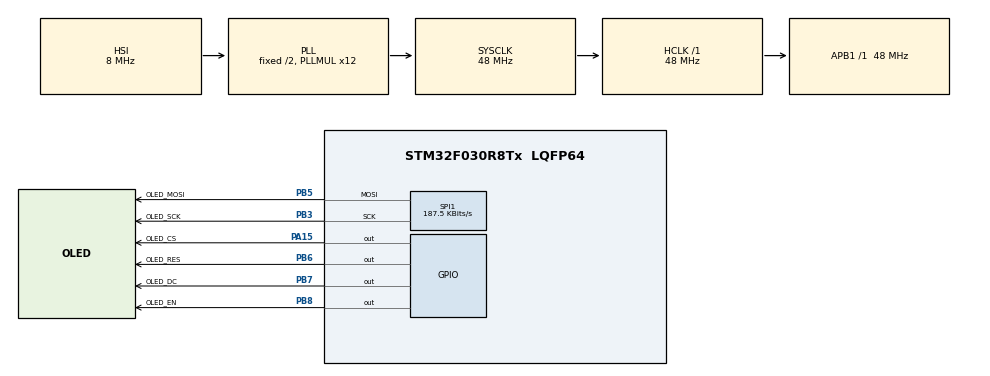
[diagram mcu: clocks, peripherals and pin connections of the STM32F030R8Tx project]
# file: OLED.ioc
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Dma.Request0=SPI1_TX
Dma.SPI1_TX.0.Direction=DMA_MEMORY_TO_PERIPH
Dma.SPI1_TX.0.Instance=DMA1_Channel3
Dma.SPI1_TX.0.MemDataAlignment=DMA_MDATAALIGN_BYTE
Dma.SPI1_TX.0.MemInc=DMA_MINC_ENABLE
Dma.SPI1_TX.0.Mode=DMA_CIRCULAR
Dma.SPI1_TX.0.PeriphDataAlignment=DMA_PDATAALIGN_BYTE
Dma.SPI1_TX.0.PeriphInc=DMA_PINC_DISABLE
Dma.SPI1_TX.0.Priority=DMA_PRIORITY_HIGH
Mcu.Family=STM32F0
Mcu.Name=STM32F030R8Tx
Mcu.Package=LQFP64
NVIC.DMA1_Channel2_3_IRQn=true\:0\:0\:false\:false\:true\:false\:true
PA15.GPIO_Label=OLED_CS
PA15.GPIO_Speed=GPIO_SPEED_FREQ_HIGH
PA15.PinState=GPIO_PIN_SET
PA15.Signal=GPIO_Output
PB3.GPIO_Label=OLED_SCK
PB3.Mode=TX_Only_Simplex_Unidirect_Master
PB3.Signal=SPI1_SCK
PB5.GPIO_Label=OLED_MOSI
PB5.Mode=TX_Only_Simplex_Unidirect_Master
PB5.Signal=SPI1_MOSI
PB6.GPIO_Label=OLED_RES
PB6.GPIO_Speed=GPIO_SPEED_FREQ_HIGH
PB6.PinState=GPIO_PIN_SET
PB6.Signal=GPIO_Output
PB7.GPIO_Label=OLED_DC
PB7.GPIO_Speed=GPIO_SPEED_FREQ_HIGH
PB7.PinState=GPIO_PIN_SET
PB7.Signal=GPIO_Output
PB8.GPIO_Label=OLED_EN
PB8.GPIO_PuPd=GPIO_PULLDOWN
PB8.GPIO_Speed=GPIO_SPEED_FREQ_HIGH
PB8.PinState=GPIO_PIN_RESET
PB8.Signal=GPIO_Output
ProjectManager.HeapSize=0x200
ProjectManager.StackSize=0x400
ProjectManager.TargetToolchain=MDK-ARM V5.32
RCC.AHBFreq_Value=48000000
RCC.APB1Freq_Value=48000000
RCC.APB1TimFreq_Value=48000000
RCC.HCLKFreq_Value=48000000
RCC.PLLMUL=RCC_PLL_MUL12
RCC.SYSCLKFreq_VALUE=48000000
RCC.SYSCLKSource=RCC_SYSCLKSOURCE_PLLCLK
RTC.Date=14
RTC.Hours=12
RTC.Minutes=34
RTC.Month=RTC_MONTH_AUGUST
RTC.WeekDay=RTC_WEEKDAY_SUNDAY
RTC.Year=22
SPI1.BaudRatePrescaler=SPI_BAUDRATEPRESCALER_256
SPI1.CalculateBaudRate=187.5 KBits/s
SPI1.DataSize=SPI_DATASIZE_8BIT
SPI1.Direction=SPI_DIRECTION_2LINES
SPI1.Mode=SPI_MODE_MASTER
SPI1.NSSPMode=SPI_NSS_PULSE_DISABLE
SPI1.VirtualType=VM_MASTER
VP_RTC_VS_RTC_Activate.Mode=RTC_Enabled
VP_RTC_VS_RTC_Calendar.Mode=RTC_Calendar
board=custom

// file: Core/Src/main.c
/* USER CODE BEGIN Header */
/**
  ******************************************************************************
  * @file           : main.c
  * @brief          : Main program body
  ******************************************************************************
  * @attention
  *
  * Copyright (c) 2022 STMicroelectronics.
  * All rights reserved.
  *
  * This software is licensed under terms that can be found in the LICENSE file
  * in the root directory of this software component.
  * If no LICENSE file comes with this software, it is provided AS-IS.
  *
  ******************************************************************************
  */
/* USER CODE END Header */
#include "main.h"

/* USER CODE BEGIN Includes */
#include "oled.h"
#include "stdio.h"
#include "string.h"
/* USER CODE END Includes */

RTC_HandleTypeDef hrtc;

SPI_HandleTypeDef hspi1;
DMA_HandleTypeDef hdma_spi1_tx;

void SystemClock_Config(void);
static void MX_GPIO_Init(void);
static void MX_SPI1_Init(void);
static void MX_DMA_Init(void);
static void MX_RTC_Init(void);

int main(void)
{

  /* MCU Configuration--------------------------------------------------------*/

  /* Reset of all peripherals, Initializes the Flash interface and the Systick. */
  HAL_Init();

  /* Configure the system clock */
  SystemClock_Config();

  /* Initialize all configured peripherals */
  MX_GPIO_Init();
	MX_DMA_Init();
	MX_SPI1_Init();
  MX_RTC_Init();
  /* USER CODE BEGIN 2 */

	oled_init();

  /* USER CODE END 2 */

  /* Infinite loop */
  /* USER CODE BEGIN WHILE */

	uint8_t *p_oled = oled_get_buffer();
	uint32_t count = 0;

  while (1)
  {
    /* USER CODE END WHILE */

    /* USER CODE BEGIN 3 */

		count = 0;
		p_oled = oled_get_buffer();
		do
		{
			*p_oled++ = 0xff;
			HAL_Delay(1);
		} while (++count < 1024);

		count = 0;
		p_oled = oled_get_buffer();
		do
		{
			*p_oled++ = 0;
			HAL_Delay(1);
		} while (++count < 1024);
  }
  /* USER CODE END 3 */
}

void SystemClock_Config(void)
{
  RCC_OscInitTypeDef RCC_OscInitStruct = {0};
  RCC_ClkInitTypeDef RCC_ClkInitStruct = {0};
  RCC_PeriphCLKInitTypeDef PeriphClkInit = {0};

  /** Initializes the RCC Oscillators according to the specified parameters
  * in the RCC_OscInitTypeDef structure.
  */
  RCC_OscInitStruct.OscillatorType = RCC_OSCILLATORTYPE_HSI|RCC_OSCILLATORTYPE_LSI;
  RCC_OscInitStruct.HSIState = RCC_HSI_ON;
  RCC_OscInitStruct.HSICalibrationValue = RCC_HSICALIBRATION_DEFAULT;
  RCC_OscInitStruct.LSIState = RCC_LSI_ON;
  RCC_OscInitStruct.PLL.PLLState = RCC_PLL_ON;
  RCC_OscInitStruct.PLL.PLLSource = RCC_PLLSOURCE_HSI;
  RCC_OscInitStruct.PLL.PLLMUL = RCC_PLL_MUL12;
  RCC_OscInitStruct.PLL.PREDIV = RCC_PREDIV_DIV1;
  if (HAL_RCC_OscConfig(&RCC_OscInitStruct) != HAL_OK)
  {
    Error_Handler();
  }
  /** Initializes the CPU, AHB and APB buses clocks
  */
  RCC_ClkInitStruct.ClockType = RCC_CLOCKTYPE_HCLK|RCC_CLOCKTYPE_SYSCLK
                              |RCC_CLOCKTYPE_PCLK1;
  RCC_ClkInitStruct.SYSCLKSource = RCC_SYSCLKSOURCE_PLLCLK;
  RCC_ClkInitStruct.AHBCLKDivider = RCC_SYSCLK_DIV1;
  RCC_ClkInitStruct.APB1CLKDivider = RCC_HCLK_DIV1;

  if (HAL_RCC_ClockConfig(&RCC_ClkInitStruct, FLASH_LATENCY_1) != HAL_OK)
  {
    Error_Handler();
  }
  PeriphClkInit.PeriphClockSelection = RCC_PERIPHCLK_RTC;
  PeriphClkInit.RTCClockSelection = RCC_RTCCLKSOURCE_LSI;
  if (HAL_RCCEx_PeriphCLKConfig(&PeriphClkInit) != HAL_OK)
  {
    Error_Handler();
  }
}

static void MX_RTC_Init(void)
{

  RTC_TimeTypeDef sTime = {0};
  RTC_DateTypeDef sDate = {0};

  /** Initialize RTC Only
  */
  hrtc.Instance = RTC;
  hrtc.Init.HourFormat = RTC_HOURFORMAT_24;
  hrtc.Init.AsynchPrediv = 127;
  hrtc.Init.SynchPrediv = 255;
  hrtc.Init.OutPut = RTC_OUTPUT_DISABLE;
  hrtc.Init.OutPutPolarity = RTC_OUTPUT_POLARITY_HIGH;
  hrtc.Init.OutPutType = RTC_OUTPUT_TYPE_OPENDRAIN;
  if (HAL_RTC_Init(&hrtc) != HAL_OK)
  {
    Error_Handler();
  }

  /** Initialize RTC and set the Time and Date
  */
  sTime.Hours = 0x12;
  sTime.Minutes = 0x34;
  sTime.Seconds = 0x0;
  sTime.DayLightSaving = RTC_DAYLIGHTSAVING_NONE;
  sTime.StoreOperation = RTC_STOREOPERATION_RESET;
  if (HAL_RTC_SetTime(&hrtc, &sTime, RTC_FORMAT_BCD) != HAL_OK)
  {
    Error_Handler();
  }
  sDate.WeekDay = RTC_WEEKDAY_SUNDAY;
  sDate.Month = RTC_MONTH_AUGUST;
  sDate.Date = 0x14;
  sDate.Year = 0x22;

  if (HAL_RTC_SetDate(&hrtc, &sDate, RTC_FORMAT_BCD) != HAL_OK)
  {
    Error_Handler();
  }

}

static void MX_SPI1_Init(void)
{

  /* SPI1 parameter configuration*/
  hspi1.Instance = SPI1;
  hspi1.Init.Mode = SPI_MODE_MASTER;
  hspi1.Init.Direction = SPI_DIRECTION_2LINES;
  hspi1.Init.DataSize = SPI_DATASIZE_8BIT;
  hspi1.Init.CLKPolarity = SPI_POLARITY_LOW;
  hspi1.Init.CLKPhase = SPI_PHASE_1EDGE;
  hspi1.Init.NSS = SPI_NSS_SOFT;
  hspi1.Init.BaudRatePrescaler = SPI_BAUDRATEPRESCALER_256;
  hspi1.Init.FirstBit = SPI_FIRSTBIT_MSB;
  hspi1.Init.TIMode = SPI_TIMODE_DISABLE;
  hspi1.Init.CRCCalculation = SPI_CRCCALCULATION_DISABLE;
  hspi1.Init.CRCPolynomial = 7;
  hspi1.Init.CRCLength = SPI_CRC_LENGTH_DATASIZE;
  hspi1.Init.NSSPMode = SPI_NSS_PULSE_DISABLE;
  if (HAL_SPI_Init(&hspi1) != HAL_OK)
  {
    Error_Handler();
  }

}

static void MX_DMA_Init(void)
{

  /* DMA controller clock enable */
  __HAL_RCC_DMA1_CLK_ENABLE();

  /* DMA interrupt init */
  /* DMA1_Channel2_3_IRQn interrupt configuration */
  HAL_NVIC_SetPriority(DMA1_Channel2_3_IRQn, 0, 0);
  HAL_NVIC_EnableIRQ(DMA1_Channel2_3_IRQn);

}

static void MX_GPIO_Init(void)
{
  GPIO_InitTypeDef GPIO_InitStruct = {0};

  /* GPIO Ports Clock Enable */
  __HAL_RCC_GPIOA_CLK_ENABLE();
  __HAL_RCC_GPIOB_CLK_ENABLE();

  /*Configure GPIO pin Output Level */
  HAL_GPIO_WritePin(OLED_CS_GPIO_Port, OLED_CS_Pin, GPIO_PIN_SET);

  /*Configure GPIO pin Output Level */
  HAL_GPIO_WritePin(GPIOB, OLED_RES_Pin|OLED_DC_Pin, GPIO_PIN_SET);

  /*Configure GPIO pin Output Level */
  HAL_GPIO_WritePin(OLED_EN_GPIO_Port, OLED_EN_Pin, GPIO_PIN_RESET);

  /*Configure GPIO pin : OLED_CS_Pin */
  GPIO_InitStruct.Pin = OLED_CS_Pin;
  GPIO_InitStruct.Mode = GPIO_MODE_OUTPUT_PP;
  GPIO_InitStruct.Pull = GPIO_NOPULL;
  GPIO_InitStruct.Speed = GPIO_SPEED_FREQ_HIGH;
  HAL_GPIO_Init(OLED_CS_GPIO_Port, &GPIO_InitStruct);

  /*Configure GPIO pins : OLED_RES_Pin OLED_DC_Pin */
  GPIO_InitStruct.Pin = OLED_RES_Pin|OLED_DC_Pin;
  GPIO_InitStruct.Mode = GPIO_MODE_OUTPUT_PP;
  GPIO_InitStruct.Pull = GPIO_NOPULL;
  GPIO_InitStruct.Speed = GPIO_SPEED_FREQ_HIGH;
  HAL_GPIO_Init(GPIOB, &GPIO_InitStruct);

  /*Configure GPIO pin : OLED_EN_Pin */
  GPIO_InitStruct.Pin = OLED_EN_Pin;
  GPIO_InitStruct.Mode = GPIO_MODE_OUTPUT_PP;
  GPIO_InitStruct.Pull = GPIO_PULLDOWN;
  GPIO_InitStruct.Speed = GPIO_SPEED_FREQ_HIGH;
  HAL_GPIO_Init(OLED_EN_GPIO_Port, &GPIO_InitStruct);

}

/* USER CODE BEGIN 4 */

/********************************************************
函数：HAL_GPIO_EXTI_Callback
描述：外部线中断统一的回调函数
参数：GPIO_Pin：中断线
返回：无
作者：Zhu.S.L
版本：V1.0.0 2019年6月15日 22:37:18
备注：无
********************************************************/

/**
  * @brief  Rx Transfer completed callback.
  * @param  huart UART handle.
  * @retval None
  */

/* USER CODE END 4 */

void Error_Handler(void)
{
  __disable_irq();
  while (1)
  {
  }
}
